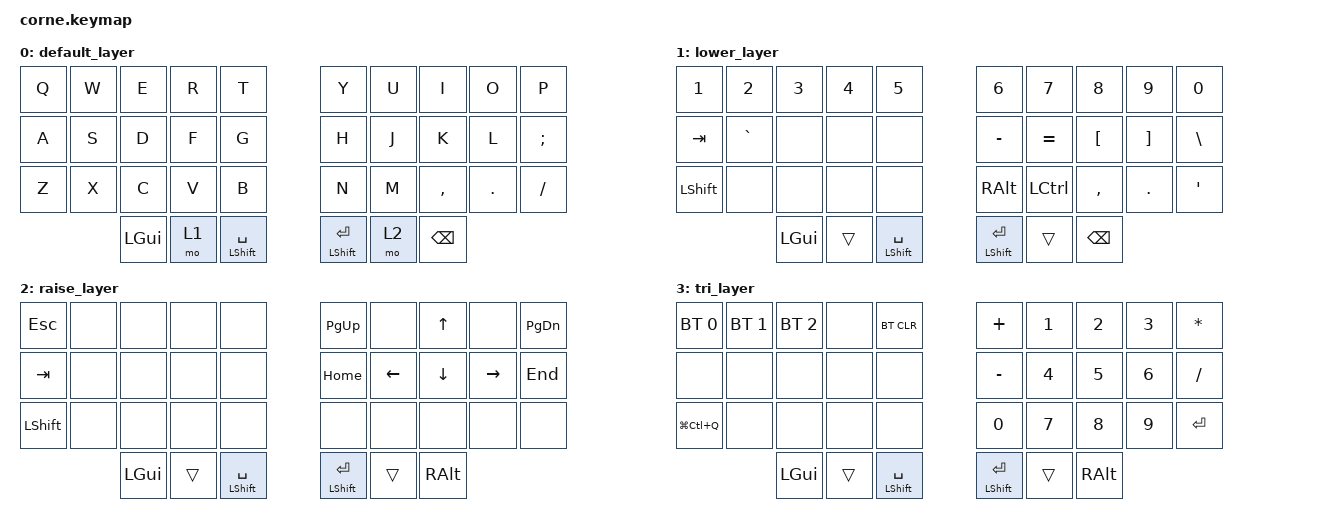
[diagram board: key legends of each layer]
/*
 * Copyright (c) 2020 The ZMK Contributors
 *
 * SPDX-License-Identifier: MIT
 */

#include <behaviors.dtsi>
#include <dt-bindings/zmk/bt.h>
#include <dt-bindings/zmk/keys.h>

#define DEFAULT 0
#define LOWER   1
#define RAISE   2
#define TRI     3

#define MO_TOG(layer) &mo_tog layer layer //momentary on hold, toggle on tap
&mt {
    tapping-term-ms = <350>;
    };

/ {
    chosen { zmk,matrix_transform = &five_column_transform; };

    behaviors {
        mo_tog: behavior_mo_tog {
            compatible = "zmk,behavior-hold-tap";
            #binding-cells = <2>;
            flavor = "hold-preferred";
            tapping-term-ms = <200>;
            bindings = <&mo>, <&tog>;
        };
        th: tap_hold {
            compatible = "zmk,behavior-hold-tap";
            #binding-cells = <2>;
            tapping-term-ms = <150>;
            quick-tap-ms = <0>;
            flavor = "tap-preferred";
            bindings = <&kp>, <&kp>;
        };
    };

    conditional_layers {
        compatible = "zmk,conditional-layers";

        tri_layer {
            if-layers = <LOWER RAISE>;
            then-layer = <TRI>;
        };
    };

    keymap {
        compatible = "zmk,keymap";

        default_layer {
            // -----------------------------------------------------------------------------------------
            // |  Q  |  W  |  E  |  R  |  T  |||||  Y  |  U   |  I  |  O  |  P  |
            // |  A  |  S  |  D  |  F  |  G  |||||  H  |  J   |  K  |  L  |  ;  |
            // |  Z  |  X  |  C  |  V  |  B  |||||  N  |  M   |  ,  |  .  |  /  |
            //                    | GUI | LWR | SPC ||||| ENT | RSE  | BKSP |

            bindings = <
  &kp Q  &kp W  &kp E     &kp R        &kp T                   &kp Y                 &kp U        &kp I          &kp O    &kp P
  &kp A  &kp S  &kp D     &kp F        &kp G                   &kp H                 &kp J        &kp K          &kp L    &kp SEMI
  &kp Z  &kp X  &kp C     &kp V        &kp B                   &kp N                 &kp M        &kp COMMA      &kp DOT  &kp FSLH
                &kp LGUI  &mo 1  &mt LEFT_SHIFT SPACE    &mt LEFT_SHIFT ENTER  &mo 2  &kp BACKSPACE
            >;
        };

        lower_layer {
            // -----------------------------------------------------------------------------------------
            // |  !  |  @  |  #  |  $  |  %  |||||  ^  |  &  |  *  |  (  |  )  |
            // |  `  |     |     |     |     |||||  -  |  =  |  [  |  ]  |  \  |
            // |  ~  |     |     |     |     |||||  _  |  +  |  {  |  }  | "|" |
            //                    | GUI |     | SPC ||||| ENT |     | ALT |

            bindings = <
  &kp NUMBER_1    &kp NUMBER_2  &kp NUMBER_3  &kp NUMBER_4  &kp N5                  &kp NUMBER_6          &kp N7            &kp N8         &kp N9      &kp N0
  &kp TAB         &kp GRAVE     &none         &none         &none                   &kp MINUS             &kp EQUAL         &kp LBKT       &kp RBKT    &kp BSLH
  &kp LEFT_SHIFT  &none         &none         &none         &none                   &kp RIGHT_ALT         &kp LEFT_CONTROL  &kp COMMA      &kp PERIOD  &kp SQT
                                &kp LGUI      &trans        &mt LEFT_SHIFT SPACE    &mt LEFT_SHIFT ENTER  &trans            &kp BACKSPACE
            >;
        }; 

        raise_layer {
            // -----------------------------------------------------------------------------------------
            // | BT1   | BT2 | BT3 | BT4 | BT5 |||||  1  |  2  |  3  |  UP |  DWN | 
            // | BTCLR |     |     |     |     |||||  4  |  5  |  6  | LFT |  RhT | 
            // | SHFT  |     |     |     |     |||||  7  |  8  |  9  |  0  |      |
            //               | GUI |     | SPC ||||| ENT |     | ALT |

            bindings = <
  &kp ESCAPE      &none  &none     &none   &none                   &kp PG_UP             &none           &kp UP_ARROW    &none      &kp PAGE_DOWN
  &kp TAB         &none  &none     &none   &none                   &kp HOME              &kp LEFT_ARROW  &kp DOWN_ARROW  &kp RIGHT  &kp END
  &kp LEFT_SHIFT  &none  &none     &none   &none                   &none                 &none           &none           &none      &none
                         &kp LGUI  &trans  &mt LEFT_SHIFT SPACE    &mt LEFT_SHIFT ENTER  &trans          &kp RALT
            >;
        }; 

        tri_layer {
            // -----------------------------------------------------------------------------------------
            // |  !  |  @  |  #  |  $  |  %  |||||  ^  |  &  |  *  |  (  |  )  |
            // |     |     |     |     |     |||||  -  |  =  |  [  |  ]  |  \  |
            // |     |     |     |     |     |||||  _  |  +  |  {  |  }  | "|" |
            //                    | GUI |     | SPC ||||| ENT |     | ALT |

            bindings = <
  &bt BT_SEL 0   &bt BT_SEL 1  &bt BT_SEL 2  &none   &bt BT_CLR              &kp PLUS              &kp NUMBER_1  &kp NUMBER_2  &kp NUMBER_3  &kp ASTRK
  &none          &none         &none         &none   &none                   &kp MINUS             &kp NUMBER_4  &kp N5        &kp NUMBER_6  &kp SLASH
  &kp LG(LC(Q))  &none         &none         &none   &none                   &kp N0                &kp N7        &kp N8        &kp N9        &kp ENTER
                               &kp LGUI      &trans  &mt LEFT_SHIFT SPACE    &mt LEFT_SHIFT ENTER  &trans        &kp RALT
            >;
        };
    };
};
